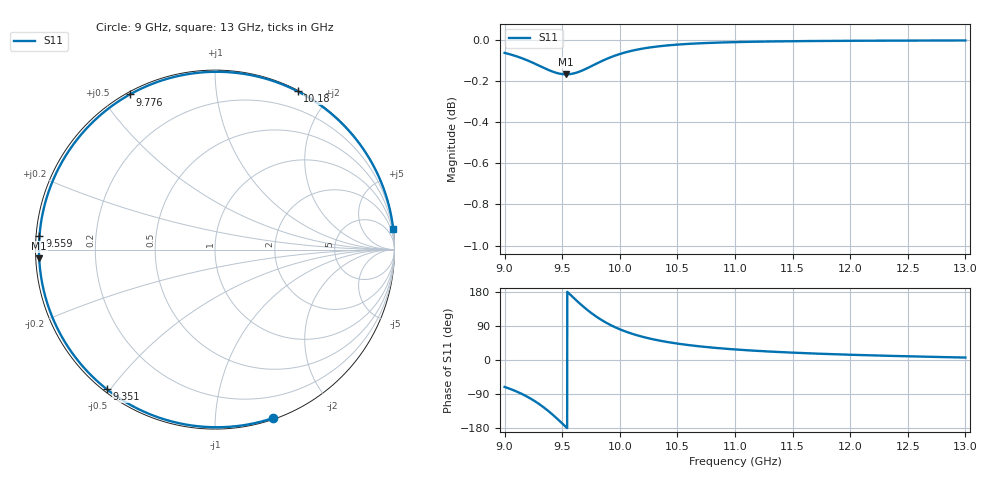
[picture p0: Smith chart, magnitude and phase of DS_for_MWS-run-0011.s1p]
! TOUCHSTONE file generated by CST DESIGN STUDIO
! Date and time: Tue Feb  4 15:48:39 2025
! Project name: C:\Work\MatlabApps\UnitCellOptimizationMatlab\CST\unitcell.cst
! Tree item: Tasks\Sweep1\SPara1\S-Parameters
! Header version: 2024
! Port assignment regex: !\s*Touchstone port\s*([0-9]+)\s*=\s*(CST MWS port|CST DES external port|CST DES block port)\s*(.+)\s* \(\"(.*)\"\)(\s*mode\s*([0-9]+))?.*
! Touchstone port assignment:
! Touchstone port 1 = CST DES external port 1 ("")
# GHz S MA R 50
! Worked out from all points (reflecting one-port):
!   4001 points, 9 GHz to 13 GHz, reference 50 ohm
!   lowest |S11| = -0.2 dB at 9.534 GHz (marker M1), VSWR 103.53, Z = 0.483 - j1.23 ohm
!   phase of S11 starts at -71 deg and turns -282 deg over the sweep
!   S11 on the Smith chart (normalised r, x): 9 GHz: 0.01, -1.40; 9.351 GHz: 0.01, -0.49; 9.559 GHz: 0.01, +0.04; 9.776 GHz: 0.01, +0.59; 10.18 GHz: 0.01, +1.65; 13 GHz: 0, +18
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9  0.9927 -71.1
9.099  0.9909 -82.5
9.207  0.9883 -98.6
9.283  0.9861 -112.8
9.351  0.9841 -127.7
9.422  0.9822 -145.6
9.463  0.9814 -156.8
9.5  0.981 -167.3
9.534  0.9809 -177.2
9.559  0.9809 175.5
9.613  0.9816 160.0
9.674  0.983 143.3
9.725  0.9845 130.4
9.776  0.9861 118.8
9.824  0.9876 108.9
9.875  0.9891 99.5
9.933  0.9906 90.3
10  0.9921 81.1
10.088  0.9937 71.1
10.183  0.9949 62.4
10.328  0.9963 52.2
10.5  0.9973 43.3
10.721  0.9981 35.1
11  0.9987 27.9
11.5  0.9992 19.4
12  0.9995 13.9
12.5  0.9996 9.8
13  0.9997 6.5
